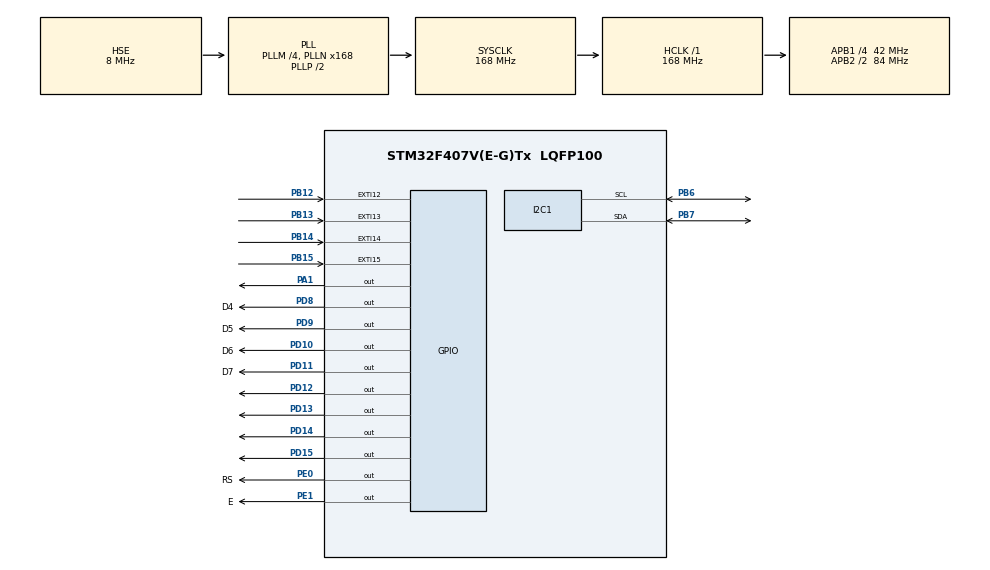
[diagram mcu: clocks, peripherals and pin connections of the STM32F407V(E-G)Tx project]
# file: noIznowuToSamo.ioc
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Mcu.Family=STM32F4
Mcu.Name=STM32F407V(E-G)Tx
Mcu.Package=LQFP100
NVIC.EXTI15_10_IRQn=true\:0\:0\:true\:false\:true\:true\:true
NVIC.PriorityGroup=NVIC_PRIORITYGROUP_4
NVIC.TIM4_IRQn=true\:1\:0\:true\:false\:true\:true\:true
PA1.Signal=GPIO_Output
PB12.GPIO_PuPd=GPIO_PULLDOWN
PB12.Signal=GPXTI12
PB13.GPIO_PuPd=GPIO_PULLDOWN
PB13.Signal=GPXTI13
PB14.GPIO_PuPd=GPIO_PULLDOWN
PB14.Signal=GPXTI14
PB15.GPIO_PuPd=GPIO_PULLDOWN
PB15.Signal=GPXTI15
PB6.Mode=I2C
PB6.Signal=I2C1_SCL
PB7.Mode=I2C
PB7.Signal=I2C1_SDA
PD10.GPIO_Label=D6
PD10.Signal=GPIO_Output
PD11.GPIO_Label=D7
PD11.Signal=GPIO_Output
PD12.Signal=GPIO_Output
PD13.Signal=GPIO_Output
PD14.Signal=GPIO_Output
PD15.Signal=GPIO_Output
PD8.GPIO_Label=D4
PD8.Signal=GPIO_Output
PD9.GPIO_Label=D5
PD9.Signal=GPIO_Output
PE0.GPIO_Label=RS
PE0.Signal=GPIO_Output
PE1.GPIO_Label=E
PE1.Signal=GPIO_Output
PH0-OSC_IN.Mode=HSE-External-Oscillator
PH0-OSC_IN.Signal=RCC_OSC_IN
PH1-OSC_OUT.Mode=HSE-External-Oscillator
PH1-OSC_OUT.Signal=RCC_OSC_OUT
ProjectManager.HeapSize=0x200
ProjectManager.StackSize=0x400
ProjectManager.TargetToolchain=STM32CubeIDE
RCC.48MHZClocksFreq_Value=84000000
RCC.AHBFreq_Value=168000000
RCC.APB1CLKDivider=RCC_HCLK_DIV4
RCC.APB1Freq_Value=42000000
RCC.APB1TimFreq_Value=84000000
RCC.APB2CLKDivider=RCC_HCLK_DIV2
RCC.APB2Freq_Value=84000000
RCC.APB2TimFreq_Value=168000000
RCC.CortexFreq_Value=168000000
RCC.HCLKFreq_Value=168000000
RCC.HSE_VALUE=8000000
RCC.HSI_VALUE=16000000
RCC.LSE_VALUE=32768
RCC.PLLM=4
RCC.PLLN=168
RCC.PLLSourceVirtual=RCC_PLLSOURCE_HSE
RCC.SYSCLKFreq_VALUE=168000000
RCC.SYSCLKSource=RCC_SYSCLKSOURCE_PLLCLK
RCC.VCOOutputFreq_Value=336000000
TIM3.Period=0xffff-1
TIM3.Prescaler=84-1
TIM4.Period=29999
TIM4.Prescaler=8399
VP_TIM3_VS_ClockSourceINT.Mode=Internal
VP_TIM4_VS_ClockSourceINT.Mode=Internal
board=custom

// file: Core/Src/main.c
/* USER CODE BEGIN Header */
/**
  ******************************************************************************
  * @file           : main.c
  * @brief          : Main program body
  ******************************************************************************
  * @attention
  *
  * <h2><center>&copy; Copyright (c) 2020 STMicroelectronics.
  * All rights reserved.</center></h2>
  *
  * This software component is licensed by ST under BSD 3-Clause license,
  * the "License"; You may not use this file except in compliance with the
  * License. You may obtain a copy of the License at:
  *                        opensource.org/licenses/BSD-3-Clause
  *
  ******************************************************************************
  */
/* USER CODE END Header */

#include "main.h"

/* USER CODE BEGIN Includes */
#include "rda5807m.h"
#include "stdio.h"
#include "lcd1602.h"
#include "ds18b20.h"
/* USER CODE END Includes */

I2C_HandleTypeDef hi2c1;

TIM_HandleTypeDef htim3;
TIM_HandleTypeDef htim4;

/* USER CODE BEGIN PV */

//DS18B20
int TEMP_beforeComma, TEMP_decimalParts;
float TEMP_floatDecimalParts;
float TEMP_value = 0;
uint8_t TEMP_byte1, TEMP_byte2, DS18B20_presence;
uint16_t TEMP_bytes;
char TEMP_charValue[9];
char* pomnazwa="k";
char* pomnazwa2="xd";
//RDA5807M

int RADIO_volume = 10;
char RADIO_station[6] = "xxxxxx";
char RADIO_pom[7];

/* USER CODE END PV */

void SystemClock_Config(void);
static void MX_GPIO_Init(void);
static void MX_I2C1_Init(void);
static void MX_TIM3_Init(void);
static void MX_TIM4_Init(void);
/* USER CODE BEGIN PFP */
void delay(uint16_t time){
	__HAL_TIM_SET_COUNTER(&htim3, 0);
	while((__HAL_TIM_GET_COUNTER(&htim3))<time);
}

void HAL_GPIO_EXTI_Callback(uint16_t GPIO_Pin){
	if(HAL_GPIO_ReadPin(GPIOB, GPIO_PIN_12) == GPIO_PIN_SET) { //Volume up
		//HAL_GPIO_WritePin(GPIOD, GPIO_PIN_12,1);
		++RADIO_volume;
		RDA5807M_setVolume(&hi2c1, RADIO_volume);
	}
	if(HAL_GPIO_ReadPin(GPIOB, GPIO_PIN_13) == GPIO_PIN_SET) { //Volume down
		--RADIO_volume;
		//HAL_GPIO_WritePin(GPIOD, GPIO_PIN_13,1);
		RDA5807M_setVolume(&hi2c1, RADIO_volume);
	}
	if(HAL_GPIO_ReadPin(GPIOB, GPIO_PIN_14) == GPIO_PIN_SET) { //Channel down
		//HAL_GPIO_WritePin(GPIOD, GPIO_PIN_14,1);
		RDA5807M_seek(&hi2c1,0);
	}
	if(HAL_GPIO_ReadPin(GPIOB, GPIO_PIN_15) == GPIO_PIN_SET) { //Channel up
		RDA5807M_seek(&hi2c1,1);
		//HAL_GPIO_WritePin(GPIOD, GPIO_PIN_15,1);
	}
}

void HAL_TIM_PeriodElapsedCallback(TIM_HandleTypeDef *htim){

	if(htim->Instance == TIM4){ //Czujnik temperatury
		DS18B20_presence = DS18B20_Start();
		if(DS18B20_presence == -1){
			//HAL_GPIO_WritePin(GPIOD, GPIO_PIN_13,1);
		}
		//HAL_Delay(1);
		delay(1000);
		DS18B20_Write(0xCC);
		DS18B20_Write(0x44);
		//HAL_Delay(800);
		//delay(800000);
		delay(60000);
		delay(60000);
		delay(60000);
		delay(60000);
		delay(60000);
		delay(60000);
		delay(60000);
		delay(60000);
		delay(60000);
		delay(60000);
		delay(60000);
		delay(60000);
		delay(60000);
		delay(20000);

		DS18B20_presence = DS18B20_Start();
		if(DS18B20_presence == -1){
			//HAL_GPIO_WritePin(GPIOD, GPIO_PIN_14,1);
				}
		//HAL_Delay(1);
		delay(1000);
		DS18B20_Write(0xCC);
		DS18B20_Write(0xBE);

		TEMP_byte1 = DS18B20_Read();
		TEMP_byte2 = DS18B20_Read();
		TEMP_bytes = (TEMP_byte2<<8)|TEMP_byte1;
		TEMP_value = (float)TEMP_bytes/16;

		TEMP_beforeComma = (int)TEMP_value;
		TEMP_floatDecimalParts = TEMP_value - TEMP_beforeComma;
		TEMP_decimalParts = trunc(TEMP_floatDecimalParts*10);
		sprintf(TEMP_charValue, "%d.%d\337C",TEMP_beforeComma,TEMP_decimalParts);

	}
}

void convertIntToChar(uint16_t num){
	sprintf(RADIO_station, "%d", num);
}
void przecinkator(){ //funkcja dodająca przecinek
	if(RADIO_station[0]=='1'){
	RADIO_pom[0]=RADIO_station[0];
	RADIO_pom[1]=RADIO_station[1];
	RADIO_pom[2]=RADIO_station[2];
	RADIO_pom[3]='.';
	RADIO_pom[4]=RADIO_station[3];
	}else{
		RADIO_pom[0]=RADIO_station[0];
		RADIO_pom[1]=RADIO_station[1];
		RADIO_pom[2]='.';
		RADIO_pom[3]=RADIO_station[2];
		//RADIO_pom[4]=RADIO_station[3];
	}
}
/* USER CODE END PFP */

int main(void)
{

  /* MCU Configuration--------------------------------------------------------*/

  /* Reset of all peripherals, Initializes the Flash interface and the Systick. */
  HAL_Init();

  /* Configure the system clock */
  SystemClock_Config();

  /* Initialize all configured peripherals */
  MX_GPIO_Init();
  MX_I2C1_Init();
  MX_TIM3_Init();
  MX_TIM4_Init();
  /* USER CODE BEGIN 2 */
  HAL_TIM_Base_Start(&htim3);
    HAL_TIM_Base_Start_IT(&htim4);

    RDA5807M_init(&hi2c1);
    RDA5807M_setFreq(&hi2c1,870);
    RDA5807M_seek(&hi2c1, 1);
    RDA5807M_setVolume(&hi2c1,RADIO_volume);

    LCD1602_Begin4BIT(RS_GPIO_Port, RS_Pin, E_Pin, D4_GPIO_Port, D4_Pin, D5_Pin, D6_Pin, D7_Pin);
    LCD1602_noCursor();
   	 	LCD1602_noBlink();
  /* USER CODE END 2 */

  /* Infinite loop */
  /* USER CODE BEGIN WHILE */
  while (1)
  {
	  LCD1602_clear();
	 	  LCD1602_setCursor(1,1);
	 	  LCD1602_print(TEMP_charValue);
	 	  LCD1602_setCursor(2,1);
	 	  convertIntToChar(RDA5807M_getFreq(&hi2c1));
	 	  przecinkator();
	 	  LCD1602_print(RADIO_pom);
	 	 RDA5807M_readRDSmkII(&hi2c1);
	 	pomnazwa = RDA5807M_getStationName();
	 	LCD1602_setCursor(2,7);
	 	/*if(pomnazwa!="k"){
	 		pomnazwa2 = pomnazwa;
	 		LCD1602_print(pomnazwa2);
	 	}
	 	if(pomnazwa2!="xd"){LCD1602_print(pomnazwa2);

	 	}else*/
	 	LCD1602_print(pomnazwa);
	 	// LCD1602_print(RADIO_station);

	 	 HAL_Delay(1000);
    /* USER CODE END WHILE */

  }
}

void SystemClock_Config(void)
{
  RCC_OscInitTypeDef RCC_OscInitStruct = {0};
  RCC_ClkInitTypeDef RCC_ClkInitStruct = {0};

  /** Configure the main internal regulator output voltage
  */
  __HAL_RCC_PWR_CLK_ENABLE();
  __HAL_PWR_VOLTAGESCALING_CONFIG(PWR_REGULATOR_VOLTAGE_SCALE1);
  /** Initializes the CPU, AHB and APB busses clocks
  */
  RCC_OscInitStruct.OscillatorType = RCC_OSCILLATORTYPE_HSE;
  RCC_OscInitStruct.HSEState = RCC_HSE_ON;
  RCC_OscInitStruct.PLL.PLLState = RCC_PLL_ON;
  RCC_OscInitStruct.PLL.PLLSource = RCC_PLLSOURCE_HSE;
  RCC_OscInitStruct.PLL.PLLM = 4;
  RCC_OscInitStruct.PLL.PLLN = 168;
  RCC_OscInitStruct.PLL.PLLP = RCC_PLLP_DIV2;
  RCC_OscInitStruct.PLL.PLLQ = 4;
  if (HAL_RCC_OscConfig(&RCC_OscInitStruct) != HAL_OK)
  {
    Error_Handler();
  }
  /** Initializes the CPU, AHB and APB busses clocks
  */
  RCC_ClkInitStruct.ClockType = RCC_CLOCKTYPE_HCLK|RCC_CLOCKTYPE_SYSCLK
                              |RCC_CLOCKTYPE_PCLK1|RCC_CLOCKTYPE_PCLK2;
  RCC_ClkInitStruct.SYSCLKSource = RCC_SYSCLKSOURCE_PLLCLK;
  RCC_ClkInitStruct.AHBCLKDivider = RCC_SYSCLK_DIV1;
  RCC_ClkInitStruct.APB1CLKDivider = RCC_HCLK_DIV4;
  RCC_ClkInitStruct.APB2CLKDivider = RCC_HCLK_DIV2;

  if (HAL_RCC_ClockConfig(&RCC_ClkInitStruct, FLASH_LATENCY_5) != HAL_OK)
  {
    Error_Handler();
  }
}

static void MX_I2C1_Init(void)
{

  hi2c1.Instance = I2C1;
  hi2c1.Init.ClockSpeed = 100000;
  hi2c1.Init.DutyCycle = I2C_DUTYCYCLE_2;
  hi2c1.Init.OwnAddress1 = 0;
  hi2c1.Init.AddressingMode = I2C_ADDRESSINGMODE_7BIT;
  hi2c1.Init.DualAddressMode = I2C_DUALADDRESS_DISABLE;
  hi2c1.Init.OwnAddress2 = 0;
  hi2c1.Init.GeneralCallMode = I2C_GENERALCALL_DISABLE;
  hi2c1.Init.NoStretchMode = I2C_NOSTRETCH_DISABLE;
  if (HAL_I2C_Init(&hi2c1) != HAL_OK)
  {
    Error_Handler();
  }

}

static void MX_TIM3_Init(void)
{

  TIM_ClockConfigTypeDef sClockSourceConfig = {0};
  TIM_MasterConfigTypeDef sMasterConfig = {0};

  htim3.Instance = TIM3;
  htim3.Init.Prescaler = 84-1;
  htim3.Init.CounterMode = TIM_COUNTERMODE_UP;
  htim3.Init.Period = 0xffff-1;
  htim3.Init.ClockDivision = TIM_CLOCKDIVISION_DIV1;
  htim3.Init.AutoReloadPreload = TIM_AUTORELOAD_PRELOAD_DISABLE;
  if (HAL_TIM_Base_Init(&htim3) != HAL_OK)
  {
    Error_Handler();
  }
  sClockSourceConfig.ClockSource = TIM_CLOCKSOURCE_INTERNAL;
  if (HAL_TIM_ConfigClockSource(&htim3, &sClockSourceConfig) != HAL_OK)
  {
    Error_Handler();
  }
  sMasterConfig.MasterOutputTrigger = TIM_TRGO_RESET;
  sMasterConfig.MasterSlaveMode = TIM_MASTERSLAVEMODE_DISABLE;
  if (HAL_TIMEx_MasterConfigSynchronization(&htim3, &sMasterConfig) != HAL_OK)
  {
    Error_Handler();
  }

}

static void MX_TIM4_Init(void)
{

  TIM_ClockConfigTypeDef sClockSourceConfig = {0};
  TIM_MasterConfigTypeDef sMasterConfig = {0};

  htim4.Instance = TIM4;
  htim4.Init.Prescaler = 8399;
  htim4.Init.CounterMode = TIM_COUNTERMODE_UP;
  htim4.Init.Period = 29999;
  htim4.Init.ClockDivision = TIM_CLOCKDIVISION_DIV1;
  htim4.Init.AutoReloadPreload = TIM_AUTORELOAD_PRELOAD_DISABLE;
  if (HAL_TIM_Base_Init(&htim4) != HAL_OK)
  {
    Error_Handler();
  }
  sClockSourceConfig.ClockSource = TIM_CLOCKSOURCE_INTERNAL;
  if (HAL_TIM_ConfigClockSource(&htim4, &sClockSourceConfig) != HAL_OK)
  {
    Error_Handler();
  }
  sMasterConfig.MasterOutputTrigger = TIM_TRGO_RESET;
  sMasterConfig.MasterSlaveMode = TIM_MASTERSLAVEMODE_DISABLE;
  if (HAL_TIMEx_MasterConfigSynchronization(&htim4, &sMasterConfig) != HAL_OK)
  {
    Error_Handler();
  }

}

static void MX_GPIO_Init(void)
{
  GPIO_InitTypeDef GPIO_InitStruct = {0};

  /* GPIO Ports Clock Enable */
  __HAL_RCC_GPIOH_CLK_ENABLE();
  __HAL_RCC_GPIOA_CLK_ENABLE();
  __HAL_RCC_GPIOB_CLK_ENABLE();
  __HAL_RCC_GPIOD_CLK_ENABLE();
  __HAL_RCC_GPIOE_CLK_ENABLE();

  /*Configure GPIO pin Output Level */
  HAL_GPIO_WritePin(GPIOA, GPIO_PIN_1, GPIO_PIN_RESET);

  /*Configure GPIO pin Output Level */
  HAL_GPIO_WritePin(GPIOD, D4_Pin|D5_Pin|D6_Pin|D7_Pin
                          |GPIO_PIN_12|GPIO_PIN_13|GPIO_PIN_14|GPIO_PIN_15, GPIO_PIN_RESET);

  /*Configure GPIO pin Output Level */
  HAL_GPIO_WritePin(GPIOE, RS_Pin|E_Pin, GPIO_PIN_RESET);

  /*Configure GPIO pin : PA1 */
  GPIO_InitStruct.Pin = GPIO_PIN_1;
  GPIO_InitStruct.Mode = GPIO_MODE_OUTPUT_PP;
  GPIO_InitStruct.Pull = GPIO_NOPULL;
  GPIO_InitStruct.Speed = GPIO_SPEED_FREQ_LOW;
  HAL_GPIO_Init(GPIOA, &GPIO_InitStruct);

  /*Configure GPIO pins : PB12 PB13 PB14 PB15 */
  GPIO_InitStruct.Pin = GPIO_PIN_12|GPIO_PIN_13|GPIO_PIN_14|GPIO_PIN_15;
  GPIO_InitStruct.Mode = GPIO_MODE_IT_RISING;
  GPIO_InitStruct.Pull = GPIO_PULLDOWN;
  HAL_GPIO_Init(GPIOB, &GPIO_InitStruct);

  /*Configure GPIO pins : D4_Pin D5_Pin D6_Pin D7_Pin
                           PD12 PD13 PD14 PD15 */
  GPIO_InitStruct.Pin = D4_Pin|D5_Pin|D6_Pin|D7_Pin
                          |GPIO_PIN_12|GPIO_PIN_13|GPIO_PIN_14|GPIO_PIN_15;
  GPIO_InitStruct.Mode = GPIO_MODE_OUTPUT_PP;
  GPIO_InitStruct.Pull = GPIO_NOPULL;
  GPIO_InitStruct.Speed = GPIO_SPEED_FREQ_LOW;
  HAL_GPIO_Init(GPIOD, &GPIO_InitStruct);

  /*Configure GPIO pins : RS_Pin E_Pin */
  GPIO_InitStruct.Pin = RS_Pin|E_Pin;
  GPIO_InitStruct.Mode = GPIO_MODE_OUTPUT_PP;
  GPIO_InitStruct.Pull = GPIO_NOPULL;
  GPIO_InitStruct.Speed = GPIO_SPEED_FREQ_LOW;
  HAL_GPIO_Init(GPIOE, &GPIO_InitStruct);

  /* EXTI interrupt init*/
  HAL_NVIC_SetPriority(EXTI15_10_IRQn, 0, 0);
  HAL_NVIC_EnableIRQ(EXTI15_10_IRQn);

}

void Error_Handler(void)
{
}

/************************ (C) COPYRIGHT STMicroelectronics *****END OF FILE****/
